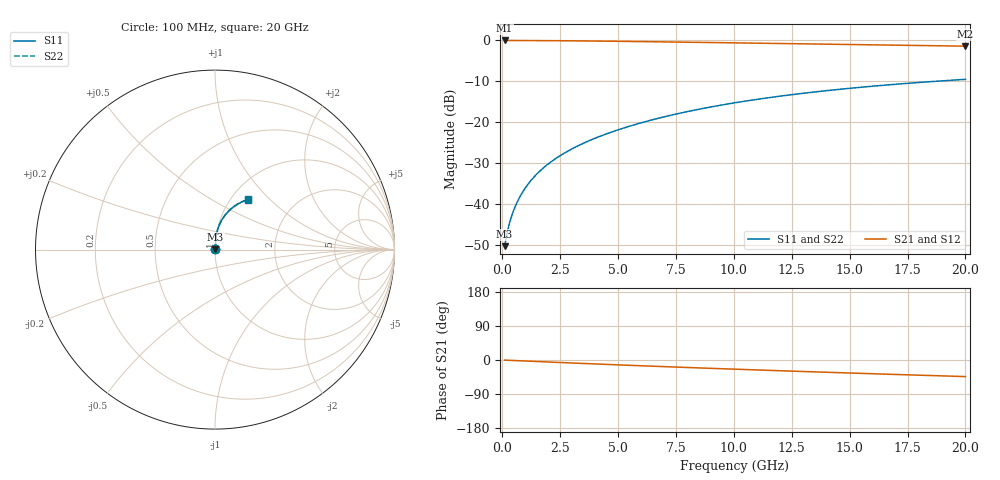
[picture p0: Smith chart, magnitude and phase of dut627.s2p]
! Touchstone file exported from HFSS 2024.1.0
!  File:  C:/UserFiles/LocalFiles/RDL_TSV_Batchsim/temp_RDL_top_627_1779780411.aedt
!  Generated:  03:29:07 PM May 26, 2026
!  Design:  RDL_top
!  Project:  temp_RDL_top_627_1779780411
!  Setup:  Setup1
!  Solution:  Sweep
! Variables:
!  dtsv = 10.80580581um
!  hbump = 3um
!  htsv = 71.83um
!  ldown = 100um
!  lrdl = 677.66um
!  p = 40
!  p1 = 44.81um
!  rhole = 1um
!  t = 450um
!  tdown = 3.915915916um
!  trdl = 4.57um
!  wdown = 15.38538539um
!  wrdl = 22.81um
# GHz S MA R 50.000000
! Terminal data exported
! Port[1] = Box2_T1
! Port[2] = Box2_T2
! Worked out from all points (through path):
!   200 points, 100 MHz to 20 GHz, reference 50 ohm
!   highest |S21| = -0.02 dB at 100 MHz (marker M1); lowest = -1.4 dB at 20 GHz (marker M2)
!   group delay of S21, straight-line fit = 6.02 ps
!   lowest |S11| = -50.3 dB at 100 MHz (marker M3), VSWR 1.01, Z = 50.2 + j0.179 ohm
!   |S11| at or under -10 dB: start of sweep to 18.7 GHz
!   |S22| runs from -50.3 to -9.5 dB; largest |S21 - S12| = 9.4e-15
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0.1  0.003066 35.6  0.9975 -0.3  0.9975 -0.3  0.003066 35.6
! Gamma 0 0 0 0
! Port Impedance 50 0 50 0
0.2  0.004349 52.0  0.9973 -0.6  0.9973 -0.6  0.004349 52.0
0.3  0.005718 60.3  0.9971 -0.8  0.9971 -0.8  0.005718 60.3
0.4  0.007107 65.6  0.9969 -1.1  0.9969 -1.1  0.007107 65.6
0.5  0.008519 69.3  0.9967 -1.4  0.9967 -1.4  0.008519 69.3
0.6  0.009954 72.1  0.9966 -1.6  0.9966 -1.6  0.009954 72.1
0.8  0.01288 75.9  0.9962 -2.2  0.9962 -2.2  0.01288 75.9
1.1  0.01737 79.2  0.9956 -3.0  0.9956 -3.0  0.01737 79.3
1.3  0.0204 80.7  0.995 -3.5  0.995 -3.5  0.02041 80.7
1.6  0.02501 82.1  0.9941 -4.3  0.9941 -4.3  0.02501 82.2
2.1  0.03279 83.6  0.9922 -5.6  0.9922 -5.6  0.03279 83.6
2.7  0.04231 84.4  0.9893 -7.1  0.9893 -7.1  0.04232 84.5
3.5  0.05533 84.8  0.9847 -9.2  0.9847 -9.2  0.05535 84.9
4.2  0.06704 84.7  0.98 -10.9  0.98 -10.9  0.06708 84.8
5  0.08081 84.3  0.9742 -12.9  0.9742 -12.9  0.08087 84.3
6.8  0.113 82.3  0.9599 -17.1  0.9599 -17.1  0.1131 82.4
8.4  0.1425 79.7  0.9465 -20.7  0.9465 -20.7  0.1427 79.8
10.1  0.1739 76.5  0.932 -24.4  0.932 -24.4  0.1742 76.6
11.7  0.203 73.3  0.9184 -27.7  0.9184 -27.7  0.2033 73.4
13.4  0.2329 69.8  0.904 -31.2  0.904 -31.2  0.2333 69.9
16.7  0.2867 63.0  0.8764 -37.6  0.8764 -37.6  0.2872 63.1
20  0.3341 56.5  0.8497 -43.8  0.8497 -43.8  0.3348 56.6
